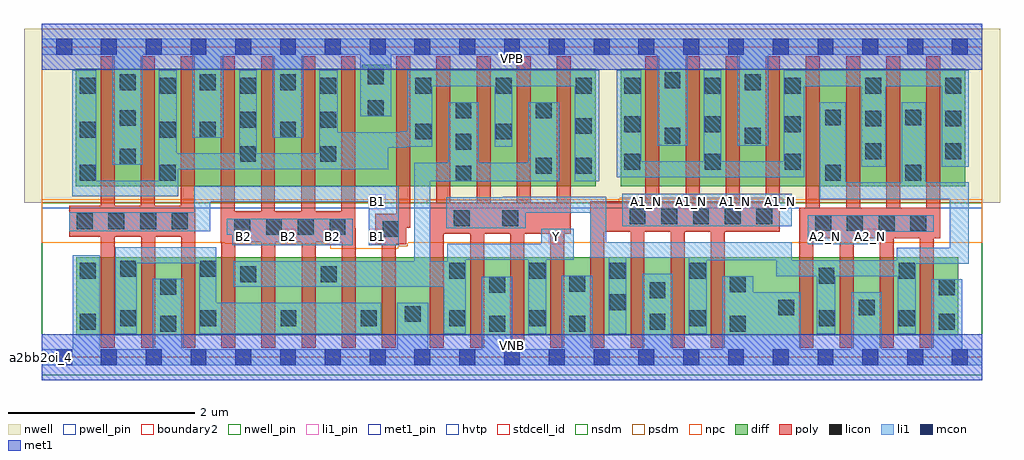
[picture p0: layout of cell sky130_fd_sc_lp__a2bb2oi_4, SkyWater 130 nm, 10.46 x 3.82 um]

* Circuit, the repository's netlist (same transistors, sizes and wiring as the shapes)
* Copyright 2020 The SkyWater PDK Authors
*
* Licensed under the Apache License, Version 2.0 (the "License");
* you may not use this file except in compliance with the License.
* You may obtain a copy of the License at
*
*     https://www.apache.org/licenses/LICENSE-2.0
*
* Unless required by applicable law or agreed to in writing, software
* distributed under the License is distributed on an "AS IS" BASIS,
* WITHOUT WARRANTIES OR CONDITIONS OF ANY KIND, either express or implied.
* See the License for the specific language governing permissions and
* limitations under the License.
*
* SPDX-License-Identifier: Apache-2.0

.SUBCKT sky130_fd_sc_lp__a2bb2oi_4 A1_N A2_N B1 B2 VGND VNB VPB VPWR Y
*.PININFO A1_N:I A2_N:I B1:I B2:I VGND:I VNB:I VPB:I VPWR:I Y:O
MMNnor0 inor A1_N VGND VNB sky130_fd_pr__nfet_01v8 m=4 w=0.84U l=0.15U mult=1 sa=0.265
+ sb=0.265 sd=0.28 area=0.063 perim=1.14
MMNnor1 inor A2_N VGND VNB sky130_fd_pr__nfet_01v8 m=4 w=0.84U l=0.15U mult=1 sa=0.265
+ sb=0.265 sd=0.28 area=0.063 perim=1.14
MMNaoi10 VGND B1 sndNB1 VNB sky130_fd_pr__nfet_01v8 m=4 w=0.84U l=0.15U mult=1
+ sa=0.265 sb=0.265 sd=0.28 area=0.063 perim=1.14
MMNaoi11 sndNB1 B2 Y VNB sky130_fd_pr__nfet_01v8 m=4 w=0.84U l=0.15U mult=1 sa=0.265
+ sb=0.265 sd=0.28 area=0.063 perim=1.14
MMNaoi20 Y inor VGND VNB sky130_fd_pr__nfet_01v8 m=4 w=0.84U l=0.15U mult=1 sa=0.265
+ sb=0.265 sd=0.28 area=0.063 perim=1.14
MMPnor0 VPWR A1_N sndPA1N VPB sky130_fd_pr__pfet_01v8_hvt m=4 w=1.26U l=0.15U mult=1
+ sa=0.265 sb=0.265 sd=0.28 area=0.063 perim=1.14
MMPnor1 sndPA1N A2_N inor VPB sky130_fd_pr__pfet_01v8_hvt m=4 w=1.26U l=0.15U mult=1
+ sa=0.265 sb=0.265 sd=0.28 area=0.063 perim=1.14
MMPaoi10 pmid B1 VPWR VPB sky130_fd_pr__pfet_01v8_hvt m=4 w=1.26U l=0.15U mult=1
+ sa=0.265 sb=0.265 sd=0.28 area=0.063 perim=1.14
MMPaoi11 pmid B2 VPWR VPB sky130_fd_pr__pfet_01v8_hvt m=4 w=1.26U l=0.15U mult=1
+ sa=0.265 sb=0.265 sd=0.28 area=0.063 perim=1.14
MMPaoi20 Y inor pmid VPB sky130_fd_pr__pfet_01v8_hvt m=4 w=1.26U l=0.15U mult=1
+ sa=0.265 sb=0.265 sd=0.28 area=0.063 perim=1.14
.ENDS sky130_fd_sc_lp__a2bb2oi_4

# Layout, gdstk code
import gdstk
lib = gdstk.Library(unit=1e-6, precision=1e-09)
def R(c, l, rs):  # rectangles x0, y0, x1, y1
    for r in rs: c.add(gdstk.rectangle(r[:2], r[2:], *l))
def A(c, l, x, y, w, h, nx, ny, dx, dy):  # array of equal rectangles
    R(c, l, [(x+i*dx, y+j*dy, x+i*dx+w, y+j*dy+h) for i in range(nx) for j in range(ny)])
def P(c, l, *ps):  # polygons
    for p in ps: c.add(gdstk.Polygon(p, *l))
nwell_pin = (64, 16)
nwell = (64, 20)
diff = (65, 20)
poly = (66, 20)
licon = (66, 44)
li1_pin = (67, 16)
li1 = (67, 20)
mcon = (67, 44)
met1_pin = (68, 16)
met1 = (68, 20)
hvtp = (78, 44)
stdcell_id = (81, 4)
nsdm = (93, 44)
psdm = (94, 20)
npc = (95, 20)
pwell_pin = (122, 16)
boundary2 = (236, 0)

sky130_fd_sc_lp__a2bb2oi = lib.new_cell('sky130_fd_sc_lp__a2bb2oi_4')
R(sky130_fd_sc_lp__a2bb2oi, nwell_pin, [(0,3.085,10.08,3.33)])
R(sky130_fd_sc_lp__a2bb2oi, nwell, [(-0.19,1.655,10.27,3.52)])
R(sky130_fd_sc_lp__a2bb2oi, diff, [(0.37,0.235,9.825,1.075), (6.205,1.835,9.895,3.095)])
P(sky130_fd_sc_lp__a2bb2oi, diff, [(5.935,3.095),(3.725,3.095),(3.725,3.135),(3.435,3.135),(3.435,3.095),(0.365,3.095),(0.365,1.835),(5.935,1.835)])
P(sky130_fd_sc_lp__a2bb2oi, poly, [(1.645,1.625),(1.64,1.625),(1.64,3.225),(1.49,3.225),(1.49,1.625),(1.21,1.625),(1.21,3.225),(1.06,3.225),(1.06,1.625),(0.78,1.625),(0.78,3.225),(0.63,3.225),(0.63,1.625),(0.295,1.625),(0.295,1.295),(0.635,1.295),(0.635,0.105),(0.785,0.105),(0.785,1.295),(1.065,1.295),(1.065,0.105),(1.215,0.105),(1.215,1.295),(1.495,1.295),(1.495,0.105),(1.645,0.105)],
  [(3.365,1.385),(3.36,1.385),(3.36,3.225),(3.21,3.225),(3.21,1.565),(2.93,1.565),(2.93,3.225),(2.78,3.225),(2.78,1.565),(2.5,1.565),(2.5,3.225),(2.35,3.225),(2.35,1.565),(2.07,1.565),(2.07,3.225),(1.92,3.225),(1.92,1.235),(1.925,1.235),(1.925,0.105),(2.075,0.105),(2.075,1.235),(2.355,1.235),(2.355,0.105),(2.505,0.105),(2.505,1.235),(2.785,1.235),(2.785,0.105),(2.935,0.105),(2.935,1.235),(3.215,1.235),(3.215,0.105),(3.365,0.105)],
  [(3.95,3.225),(3.8,3.225),(3.8,1.54),(3.575,1.54),(3.575,1.21),(3.645,1.21),(3.645,0.105),(3.795,0.105),(3.795,1.21),(3.905,1.21),(3.905,1.39),(3.95,1.39)],
  [(5.67,3.225),(5.52,3.225),(5.52,1.655),(5.24,1.655),(5.24,3.225),(5.09,3.225),(5.09,1.655),(4.81,1.655),(4.81,3.225),(4.66,3.225),(4.66,1.655),(4.38,1.655),(4.38,3.225),(4.23,3.225),(4.23,1.655),(4.16,1.655),(4.16,0.105),(4.31,0.105),(4.31,1.325),(4.59,1.325),(4.59,0.105),(4.74,0.105),(4.74,1.325),(5.02,1.325),(5.02,0.105),(5.17,0.105),(5.17,1.325),(5.45,1.325),(5.45,0.105),(5.6,0.105),(5.6,1.325),(5.67,1.325)],
  [(7.91,3.225),(7.76,3.225),(7.76,1.675),(7.48,1.675),(7.48,3.225),(7.33,3.225),(7.33,1.675),(7.05,1.675),(7.05,3.225),(6.9,3.225),(6.9,1.675),(6.62,1.675),(6.62,3.225),(6.47,3.225),(6.47,1.675),(5.88,1.675),(5.88,0.105),(6.03,0.105),(6.03,1.345),(6.31,1.345),(6.31,0.105),(6.46,0.105),(6.46,1.345),(6.74,1.345),(6.74,0.105),(6.89,0.105),(6.89,1.345),(7.17,1.345),(7.17,0.105),(7.32,0.105),(7.32,1.345),(7.91,1.345)],
  [(9.63,3.225),(9.48,3.225),(9.48,1.605),(9.2,1.605),(9.2,3.225),(9.05,3.225),(9.05,1.605),(8.77,1.605),(8.77,3.225),(8.62,3.225),(8.62,1.605),(8.34,1.605),(8.34,3.225),(8.19,3.225),(8.19,1.605),(8.12,1.605),(8.12,0.105),(8.27,0.105),(8.27,1.275),(8.55,1.275),(8.55,0.105),(8.7,0.105),(8.7,1.275),(8.98,1.275),(8.98,0.105),(9.13,0.105),(9.13,1.275),(9.41,1.275),(9.41,0.105),(9.56,0.105),(9.56,1.275),(9.63,1.275)])
A(sky130_fd_sc_lp__a2bb2oi, licon, 0.84, 0.335, 0.17, 0.17, 4, 1, 0.86, 0)
A(sky130_fd_sc_lp__a2bb2oi, licon, 4.365, 0.845, 0.17, 0.17, 4, 1, 0.86, 0)
A(sky130_fd_sc_lp__a2bb2oi, licon, 2.065, 1.315, 0.17, 0.17, 4, 1, 0.34, 0)
A(sky130_fd_sc_lp__a2bb2oi, licon, 8.29, 1.355, 0.17, 0.17, 4, 1, 0.34, 0)
A(sky130_fd_sc_lp__a2bb2oi, licon, 0.375, 1.375, 0.17, 0.17, 4, 1, 0.34, 0)
A(sky130_fd_sc_lp__a2bb2oi, licon, 6.3, 1.425, 0.17, 0.17, 5, 1, 0.34, 0)
A(sky130_fd_sc_lp__a2bb2oi, licon, 4.435, 1.885, 0.17, 0.17, 1, 3, 0, 0.34)
A(sky130_fd_sc_lp__a2bb2oi, licon, 6.245, 2.01, 0.17, 0.17, 3, 2, 0.86, 0.405)
A(sky130_fd_sc_lp__a2bb2oi, licon, 0.405, 2.825, 0.17, 0.17, 4, 1, 0.86, 0)
A(sky130_fd_sc_lp__a2bb2oi, licon, 4.005, 2.825, 0.17, 0.17, 3, 1, 0.86, 0)
A(sky130_fd_sc_lp__a2bb2oi, licon, 6.245, 2.825, 0.17, 0.17, 5, 1, 0.86, 0)
A(sky130_fd_sc_lp__a2bb2oi, licon, 0.835, 2.865, 0.17, 0.17, 3, 1, 0.86, 0)
R(sky130_fd_sc_lp__a2bb2oi, licon, [(1.27,0.275,1.44,0.445), (4.795,0.275,4.965,0.445), (5.655,0.275,5.825,0.445), (7.375,0.275,7.545,0.445), (0.41,0.295,0.58,0.465), (6.515,0.295,6.685,0.465), (9.615,0.295,9.785,0.465), (4.365,0.335,4.535,0.505), (5.225,0.335,5.395,0.505), (6.945,0.335,7.115,0.505), (8.325,0.335,8.495,0.505), (9.185,0.335,9.355,0.505), (3.89,0.38,4.06,0.55), (7.895,0.45,8.065,0.62), (8.755,0.45,8.925,0.62), (6.085,0.505,6.255,0.675), (6.515,0.635,6.685,0.805), (9.615,0.665,9.785,0.835), (1.27,0.67,1.44,0.84), (4.795,0.695,4.965,0.865), (7.375,0.7,7.545,0.87), (5.655,0.705,5.825,0.875), (8.325,0.79,8.495,0.96), (2.13,0.805,2.3,0.975), (2.99,0.805,3.16,0.975), (0.41,0.845,0.58,1.015), (9.185,0.845,9.355,1.015), (0.84,0.865,1.01,1.035), (1.7,0.865,1.87,1.035), (3.655,1.29,3.825,1.46), (4.415,1.405,4.585,1.575), (4.935,1.405,5.105,1.575), (0.405,1.895,0.575,2.065), (1.265,1.895,1.435,2.065), (8.395,1.895,8.565,2.065), (9.255,1.895,9.425,2.065), (5.295,1.97,5.465,2.14), (5.725,1.97,5.895,2.14), (0.835,2.065,1.005,2.235), (2.125,2.095,2.295,2.265), (2.985,2.095,3.155,2.265), (8.825,2.125,8.995,2.295), (9.685,2.125,9.855,2.295), (6.675,2.29,6.845,2.46), (7.535,2.29,7.705,2.46), (4.005,2.335,4.175,2.505), (4.865,2.335,5.035,2.505), (0.405,2.355,0.575,2.525), (1.265,2.355,1.435,2.525), (1.695,2.355,1.865,2.525), (2.555,2.355,2.725,2.525), (5.725,2.395,5.895,2.565), (2.125,2.46,2.295,2.63), (2.985,2.46,3.155,2.63), (8.825,2.475,8.995,2.645), (9.685,2.475,9.855,2.645), (0.835,2.48,1.005,2.65), (8.395,2.485,8.565,2.655), (9.255,2.485,9.425,2.655), (5.295,2.565,5.465,2.735), (3.495,2.585,3.665,2.755), (7.535,2.865,7.705,3.035), (6.675,2.885,6.845,3.055), (3.495,2.925,3.665,3.095)])
A(sky130_fd_sc_lp__a2bb2oi, li1_pin, 2.075, 1.21, 0.17, 0.17, 4, 1, 0.48, 0)
A(sky130_fd_sc_lp__a2bb2oi, li1_pin, 6.395, 1.58, 0.17, 0.17, 4, 1, 0.48, 0)
R(sky130_fd_sc_lp__a2bb2oi, li1_pin, [(5.435,1.21,5.605,1.38), (8.315,1.21,8.485,1.38), (8.795,1.21,8.965,1.38), (3.515,1.58,3.685,1.75)])
R(sky130_fd_sc_lp__a2bb2oi, li1, [(6.22,1.405,8.04,1.755)])
P(sky130_fd_sc_lp__a2bb2oi, li1, [(3.335,1.485),(1.985,1.485),(1.985,1.315),(2.04,1.315),(2.04,1.2),(3.335,1.2)],
  [(3.64,0.585),(1.87,0.585),(1.87,1.18),(0.79,1.18),(0.79,0.255),(1.02,0.255),(1.02,1.01),(1.69,1.01),(1.69,0.255),(3.64,0.255)],
  [(3.825,1.835),(1.635,1.835),(1.635,1.555),(0.295,1.555),(0.295,1.35),(1.805,1.35),(1.805,1.665),(3.505,1.665),(3.505,1.2),(3.825,1.2)],
  [(9.935,3.075),(7.955,3.075),(7.955,2.1),(7.285,2.1),(7.285,3.075),(7.095,3.075),(7.095,2.1),(6.425,2.1),(6.425,3.075),(6.165,3.075),(6.165,1.93),(8.17,1.93),(8.17,2.905),(8.785,2.905),(8.785,2.045),(9.045,2.045),(9.045,2.905),(9.645,2.905),(9.645,2.045),(9.935,2.045)],
  [(9.935,1.875),(9.475,1.875),(9.475,2.735),(9.215,2.735),(9.215,1.875),(8.615,1.875),(8.615,2.735),(8.34,2.735),(8.34,1.695),(9.73,1.695),(9.73,1.175),(9.165,1.175),(9.165,1.04),(7.87,1.04),(7.87,0.87),(8.305,0.87),(8.305,0.255),(8.505,0.255),(8.505,0.87),(9.175,0.87),(9.175,0.255),(9.365,0.255),(9.365,1.005),(9.935,1.005)],
  [(5.7,1.38),(5.355,1.38),(5.355,1.215),(4.345,1.215),(4.345,1.03),(4.165,1.03),(4.165,1.885),(4.77,1.885),(4.77,1.89),(5.545,1.89),(5.545,2.735),(5.215,2.735),(5.215,2.085),(4.685,2.085),(4.685,2.735),(4.355,2.735),(4.355,2.085),(3.995,2.085),(3.995,1.03),(2.05,1.03),(2.05,0.755),(4.31,0.755),(4.31,0.255),(4.545,0.255),(4.545,1.045),(5.215,1.045),(5.215,0.255),(5.405,0.255),(5.405,1.045),(5.7,1.045)],
  [(5.975,3.075),(3.915,3.075),(3.915,2.425),(3.845,2.425),(3.845,2.415),(3.175,2.415),(3.175,3.075),(2.975,3.075),(2.975,2.185),(2.305,2.185),(2.305,3.075),(2.115,3.075),(2.115,2.185),(1.445,2.185),(1.445,3.075),(1.255,3.075),(1.255,1.895),(0.585,1.895),(0.585,3.075),(0.325,3.075),(0.325,1.725),(1.465,1.725),(1.465,2.015),(3.715,2.015),(3.715,2.245),(3.905,2.245),(3.905,2.255),(4.185,2.255),(4.185,2.905),(4.855,2.905),(4.855,2.255),(5.045,2.255),(5.045,2.905),(5.715,2.905),(5.715,1.89),(5.975,1.89)],
  [(8.04,1.235),(6.05,1.235),(6.05,1.72),(4.94,1.72),(4.94,1.715),(4.335,1.715),(4.335,1.385),(5.185,1.385),(5.185,1.55),(5.88,1.55),(5.88,1.065),(6.075,1.065),(6.075,0.255),(6.265,0.255),(6.265,1.065),(6.935,1.065),(6.935,0.255),(7.125,0.255),(7.125,1.04),(8.04,1.04)],
  [(10.08,0.085),(9.865,0.085),(9.865,0.835),(9.535,0.835),(9.535,0.085),(9.005,0.085),(9.005,0.7),(8.675,0.7),(8.675,0.085),(8.135,0.085),(8.135,0.7),(7.625,0.7),(7.625,0.87),(7.295,0.87),(7.295,0.085),(6.765,0.085),(6.765,0.895),(6.435,0.895),(6.435,0.085),(5.905,0.085),(5.905,0.875),(5.575,0.875),(5.575,0.085),(5.045,0.085),(5.045,0.865),(4.715,0.865),(4.715,0.085),(4.14,0.085),(4.14,0.585),(3.81,0.585),(3.81,0.085),(1.52,0.085),(1.52,0.84),(1.19,0.84),(1.19,0.085),(0.62,0.085),(0.62,1.095),(0.33,1.095),(0.33,0.085),(0,0.085),(0,-0.085),(10.08,-0.085)],
  [(9.56,1.525),(8.21,1.525),(8.21,1.21),(8.965,1.21),(8.965,1.345),(9.56,1.345)],
  [(10.08,3.415),(0,3.415),(0,3.245),(0.755,3.245),(0.755,2.065),(1.085,2.065),(1.085,3.245),(1.615,3.245),(1.615,2.355),(1.945,2.355),(1.945,3.245),(2.475,3.245),(2.475,2.355),(2.805,2.355),(2.805,3.245),(3.415,3.245),(3.415,2.585),(3.745,2.585),(3.745,3.245),(6.595,3.245),(6.595,2.27),(6.925,2.27),(6.925,3.245),(7.455,3.245),(7.455,2.27),(7.785,2.27),(7.785,3.245),(10.08,3.245)])
A(sky130_fd_sc_lp__a2bb2oi, mcon, 0.155, -0.085, 0.17, 0.17, 21, 2, 0.48, 3.33)
R(sky130_fd_sc_lp__a2bb2oi, met1_pin, [(0,0,10.08,0.245), (0,3.085,10.08,3.33)])
R(sky130_fd_sc_lp__a2bb2oi, met1, [(0,-0.245,10.08,0.245), (0,3.085,10.08,3.575)])
R(sky130_fd_sc_lp__a2bb2oi, hvtp, [(0,1.6,10.08,3.33)])
R(sky130_fd_sc_lp__a2bb2oi, stdcell_id, [(0,0,10.08,3.33)])
R(sky130_fd_sc_lp__a2bb2oi, nsdm, [(0,-0.19,10.08,1.655)])
P(sky130_fd_sc_lp__a2bb2oi, psdm, [(10.08,3.52),(0,3.52),(0,1.655),(4.13,1.655),(4.13,1.685),(5.2,1.685),(5.2,1.655),(6.19,1.655),(6.19,1.705),(7.94,1.705),(7.94,1.655),(10.08,1.655)])
P(sky130_fd_sc_lp__a2bb2oi, npc, [(10.08,1.695),(0,1.695),(0,1.23),(1.965,1.23),(1.965,1.215),(3.09,1.215),(3.09,1.165),(3.82,1.165),(3.82,1.19),(3.925,1.19),(3.925,1.23),(10.08,1.23)])
R(sky130_fd_sc_lp__a2bb2oi, pwell_pin, [(0,0,10.08,0.245)])
R(sky130_fd_sc_lp__a2bb2oi, boundary2, [(0,0,10.08,3.33)])
sky130_fd_sc_lp__a2bb2oi.add(gdstk.Label('VNB', (5.04,0.123), layer=64, texttype=59))
sky130_fd_sc_lp__a2bb2oi.add(gdstk.Label('VPB', (5.04,3.208), layer=64, texttype=5))
sky130_fd_sc_lp__a2bb2oi.add(gdstk.Label('a2bb2oi_4', (0,0), layer=83, texttype=44))
sky130_fd_sc_lp__a2bb2oi.add(gdstk.Label('VPWR', (5.04,3.208), layer=68, texttype=5))
sky130_fd_sc_lp__a2bb2oi.add(gdstk.Label('VGND', (5.04,0.123), layer=68, texttype=5))
sky130_fd_sc_lp__a2bb2oi.add(gdstk.Label('A1_N', (6.48,1.665), layer=67, texttype=5))
sky130_fd_sc_lp__a2bb2oi.add(gdstk.Label('A1_N', (6.96,1.665), layer=67, texttype=5))
sky130_fd_sc_lp__a2bb2oi.add(gdstk.Label('A1_N', (7.44,1.665), layer=67, texttype=5))
sky130_fd_sc_lp__a2bb2oi.add(gdstk.Label('A1_N', (7.92,1.665), layer=67, texttype=5))
sky130_fd_sc_lp__a2bb2oi.add(gdstk.Label('A2_N', (8.4,1.295), layer=67, texttype=5))
sky130_fd_sc_lp__a2bb2oi.add(gdstk.Label('A2_N', (8.88,1.295), layer=67, texttype=5))
sky130_fd_sc_lp__a2bb2oi.add(gdstk.Label('B2', (2.16,1.295), layer=67, texttype=5))
sky130_fd_sc_lp__a2bb2oi.add(gdstk.Label('B2', (2.64,1.295), layer=67, texttype=5))
sky130_fd_sc_lp__a2bb2oi.add(gdstk.Label('B2', (3.12,1.295), layer=67, texttype=5))
sky130_fd_sc_lp__a2bb2oi.add(gdstk.Label('B1', (3.6,1.295), layer=67, texttype=5))
sky130_fd_sc_lp__a2bb2oi.add(gdstk.Label('B1', (3.6,1.665), layer=67, texttype=5))
sky130_fd_sc_lp__a2bb2oi.add(gdstk.Label('Y', (5.52,1.295), layer=67, texttype=5))

lib.write_gds('sky130_fd_sc_lp__a2bb2oi_4.gds')
